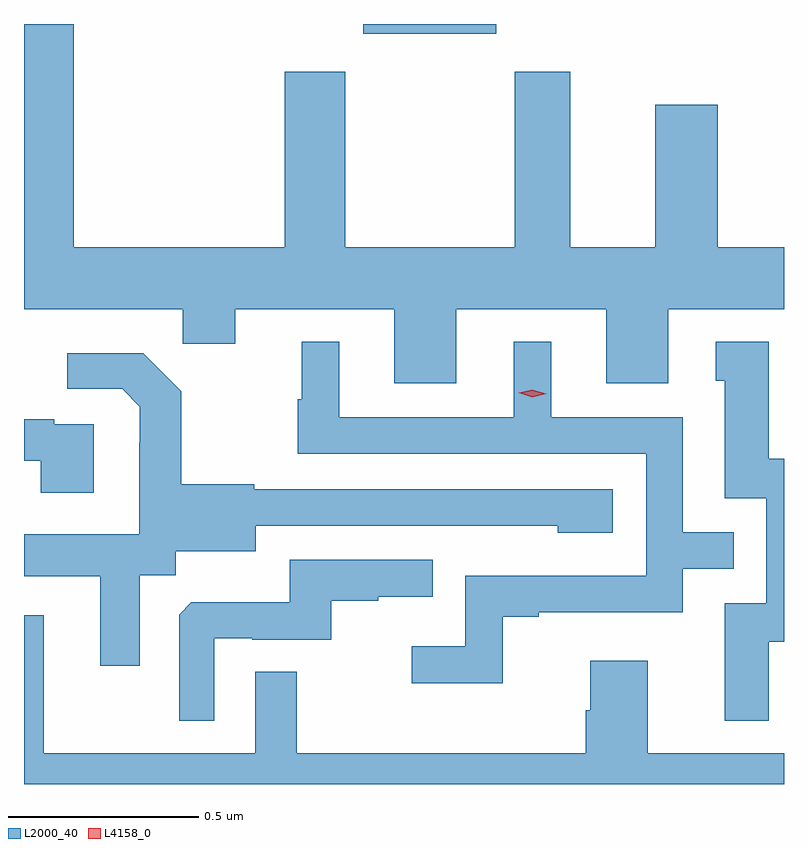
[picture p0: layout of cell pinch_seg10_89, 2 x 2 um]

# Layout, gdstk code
import gdstk
lib = gdstk.Library(unit=1e-6, precision=1e-09)
def R(c, l, rs):  # rectangles x0, y0, x1, y1
    for r in rs: c.add(gdstk.rectangle(r[:2], r[2:], *l))
def P(c, l, *ps):  # polygons
    for p in ps: c.add(gdstk.Polygon(p, *l))
L2000_40 = (2000, 40)
L4158_0 = (4158, 0)

pinch_seg10_89 = lib.new_cell('pinch_seg10_89')
R(pinch_seg10_89, L2000_40, [(739.664,1290.386,740.014,1290.411)])
P(pinch_seg10_89, L2000_40, [(739.909,1289.66),(740.303,1289.66),(740.303,1289.466),(740.467,1289.466),(740.467,1289.66),(740.771,1289.66),(740.771,1289.824),(740.596,1289.824),(740.596,1290.199),(740.432,1290.199),(740.432,1289.824),(740.209,1289.824),(740.209,1290.286),(740.062,1290.286),(740.062,1289.824),(739.617,1289.824),(739.617,1290.286),(739.457,1290.286),(739.457,1289.824),(738.902,1289.824),(738.902,1290.411),(738.771,1290.411),(738.771,1289.66),(739.189,1289.66),(739.189,1289.57),(739.327,1289.57),(739.327,1289.66),(739.745,1289.66),(739.745,1289.466),(739.909,1289.466)],
  [(740.031,1288.851),(740.125,1288.851),(740.125,1288.863),(740.505,1288.863),(740.505,1288.977),(740.639,1288.977),(740.639,1289.073),(740.505,1289.073),(740.505,1289.376),(740.158,1289.376),(740.158,1289.575),(740.06,1289.575),(740.06,1289.376),(739.6,1289.376),(739.6,1289.575),(739.502,1289.575),(739.502,1289.424),(739.491,1289.424),(739.491,1289.28),(740.409,1289.28),(740.409,1288.959),(739.932,1288.959),(739.932,1288.774),(739.791,1288.774),(739.791,1288.676),(740.031,1288.676)],
  [(740.731,1288.786),(740.771,1288.786),(740.771,1289.267),(740.731,1289.267),(740.731,1289.575),(740.591,1289.575),(740.591,1289.472),(740.615,1289.472),(740.615,1289.163),(740.724,1289.163),(740.724,1288.887),(740.615,1288.887),(740.615,1288.578),(740.731,1288.578)],
  [(739.075,1288.96),(739.17,1288.96),(739.17,1289.024),(739.381,1289.024),(739.381,1289.091),(739.939,1289.091),(739.939,1289.09),(740.175,1289.09),(740.175,1289.072),(740.32,1289.072),(740.32,1289.187),(739.377,1289.187),(739.377,1289.2),(739.185,1289.2),(739.185,1289.445),(739.085,1289.545),(738.885,1289.545),(738.885,1289.451),(739.029,1289.451),(739.076,1289.404),(739.076,1289.309),(739.074,1289.309),(739.074,1289.068),(738.771,1289.068),(738.771,1288.958),(738.971,1288.958),(738.971,1288.722),(739.075,1288.722)],
  [(738.955,1289.358),(738.851,1289.358),(738.851,1289.371),(738.771,1289.371),(738.771,1289.262),(738.815,1289.262),(738.815,1289.178),(738.955,1289.178)],
  [(739.272,1288.794),(739.372,1288.794),(739.372,1288.791),(739.58,1288.791),(739.58,1288.893),(739.703,1288.893),(739.703,1288.904),(739.847,1288.904),(739.847,1289.001),(739.47,1289.001),(739.47,1288.889),(739.211,1288.889),(739.179,1288.857),(739.179,1288.577),(739.272,1288.577)],
  [(740.771,1288.492),(740.413,1288.492),(740.413,1288.735),(740.261,1288.735),(740.261,1288.605),(740.249,1288.605),(740.249,1288.492),(739.489,1288.492),(739.489,1288.706),(739.38,1288.706),(739.38,1288.492),(738.823,1288.492),(738.823,1288.855),(738.771,1288.855),(738.771,1288.411),(740.771,1288.411)])
P(pinch_seg10_89, L4158_0, [(740.109,1289.429),(740.073,1289.44),(740.073,1289.44),(740.073,1289.44),(740.109,1289.449),(740.145,1289.438),(740.145,1289.438),(740.145,1289.438)])

lib.write_gds('pinch_seg10_89.gds')
